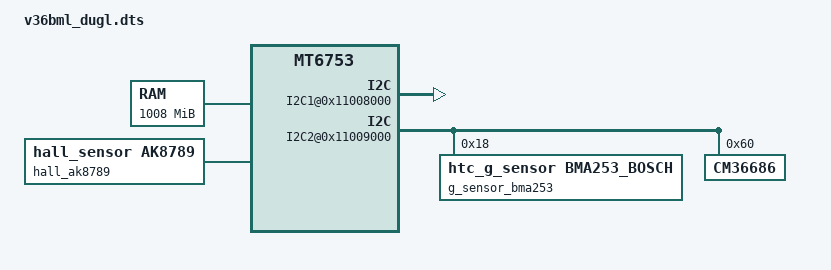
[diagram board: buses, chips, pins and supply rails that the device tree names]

/dts-v1/;

/include/ "mt6753.dtsi"
/include/ "htc_features.dtsi"
/include/ "mt6753-touch-v36bml.dtsi"

/ {
	htc_board_info {
		        htc_pid,htc_sku1 = <0x0 0x0>;
	};

  	memory@00000000 {
		device_type = "memory";
		reg = <0 0x40000000 0 0x3F000000>;
	};

	bus {
		compatible = "simple-bus";
		#address-cells = <1>;
		#size-cells = <1>;
		ranges = <0 0 0 0xffffffff>;

		MTKFB@5e200000 {
			compatible = "mediatek,MTKFB";
			reg = <0x7F000000 0x1000000>;
		};

                I2C1@0x11008000 {
                        status = "ok";
                };
		I2C2@0x11009000 {
			g_sensor_bma253@18 {
				compatible = "htc_g_sensor,bma253_bosch";
				reg = <0x18>;
				g_sensor_bma253,intr        = <0>;
				g_sensor_bma253,chip_layout = <4>;
				g_sensor_bma253,axis_map_x  = <0>;
				g_sensor_bma253,axis_map_y  = <1>;
				g_sensor_bma253,axis_map_z  = <2>;
				g_sensor_bma253,negate_x    = <1>;
				g_sensor_bma253,negate_y    = <1>;
				g_sensor_bma253,negate_z    = <0>;
			};
			cm36686@60 {
			compatible = "CM36686";
			reg = <0x60>;
			cm36686,irq-gpio = <65>;
			cm36686,engineer-id = <0>;
			cm36686,levels = <3 10 16 78 158 1058 1587 2857 3916 0>;
			cm36686,levels_2 = <3 10 16 78 158 1058 1587 2857 3916 0>;
			cm36686,golden_adc = <0x0399>;
			cm36686,golden_adc_2 = <0x0399>;
			cm36686,cm36686_slave_address = <0x60>;
			cm36686,ps1_thd_set = <0x15>;
			cm36686,ps1_thd_no_cal = <0x5f>;
			cm36686,dynamical_threshold = <1>;
			cm36686,dark_level = <3>;
			cm36686,ps_duty = <0>;
			cm36686,ps_pers = <1>;
			cm36686,ps_it = <7>;
			cm36686,ps_hd = <0>;
			cm36686,ps_led_current = <2>;
			};
		};
	};

	hall_ak8789 {
		compatible = "hall_sensor,ak8789";
		hall,att_used = <2>;
		hall,att_gpio = <3>;
		hall,att_gpio_s = <1>;
	};

};
